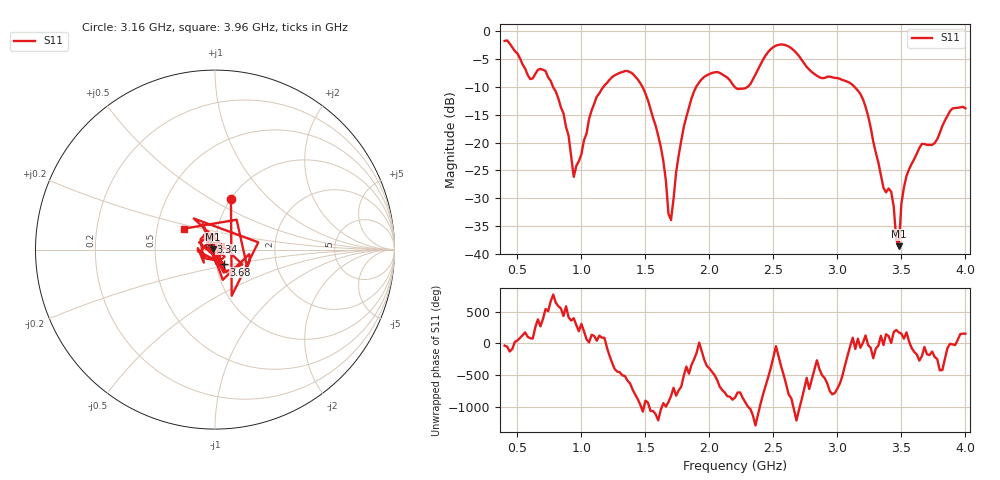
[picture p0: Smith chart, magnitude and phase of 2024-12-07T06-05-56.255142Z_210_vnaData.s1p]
!Created with skrf (http://scikit-rf.org).
# Hz S RI R 50.0
!freq ReS11 ImS11
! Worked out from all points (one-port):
!   181 points, 400 MHz to 4 GHz, reference 50 ohm
!   lowest |S11| = -38.6 dB at 3.48 GHz (marker M1), VSWR 1.02, Z = 48.9 + j0.155 ohm
!   |S11| at or under -10 dB: 778.7 MHz to 1.171 GHz (392.5 MHz wide, 40.3 % of centre); 1.477 GHz to 1.897 GHz (419.3 MHz wide, 24.9 % of centre); 3.134 GHz to end of sweep (the widest 3 of 4)
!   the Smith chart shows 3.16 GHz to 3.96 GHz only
!   S11 on the Smith chart (normalised r, x): 3.16 GHz: 1.01, +0.62; 3.34 GHz: 0.95, +0.08; 3.68 GHz: 1.09, -0.18; 3.96 GHz: 0.69, +0.17
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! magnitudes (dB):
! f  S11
! 400 MHz  -1.7
! 600 MHz  -8.6
! 720 MHz  -7.1
! 860 MHz  -14.8
! 940 MHz  -26.2
! 1.12 GHz  -11.7
! 1.3 GHz  -7.5
! 1.52 GHz  -12.4
! 1.62 GHz  -20.7
! 1.7 GHz  -33.9
! 1.76 GHz  -22.3
! 1.86 GHz  -12.1
! 1.94 GHz  -8.6
! 2.2 GHz  -10.1
! 2.32 GHz  -9.5
! 2.5 GHz  -2.8
! 2.66 GHz  -3.4
! 3.1 GHz  -9.3
! 3.16 GHz  -10.7
! 3.24 GHz  -15.2
! 3.34 GHz  -25.9
! 3.42 GHz  -28.8
! 3.48 GHz  -38.6
! 3.5 GHz  -31.0
! 3.56 GHz  -24.8
! 3.68 GHz  -20.3
! 3.96 GHz  -13.7
! 4 GHz  -13.8
